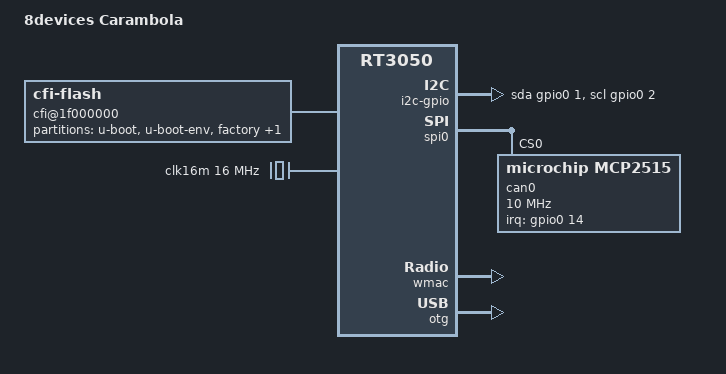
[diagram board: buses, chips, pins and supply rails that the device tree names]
/dts-v1/;

#include "rt3050.dtsi"

/ {
	compatible = "CARAMBOLA", "ralink,rt3050-soc";
	model = "8devices Carambola";

	chosen {
		bootargs = "console=ttyS0,115200";
	};

	cfi@1f000000 {
		compatible = "cfi-flash";
		reg = <0x1f000000 0x800000>;
		bank-width = <2>;
		device-width = <2>;
		#address-cells = <1>;
		#size-cells = <1>;

		partition@0 {
			label = "u-boot";
			reg = <0x0 0x30000>;
			read-only;
		};

		partition@30000 {
			label = "u-boot-env";
			reg = <0x30000 0x10000>;
			read-only;
		};

		factory: partition@40000 {
			label = "factory";
			reg = <0x40000 0x10000>;
			read-only;
		};

		partition@50000 {
			label = "firmware";
			reg = <0x50000 0x7b0000>;
		};
	};

	i2c-gpio {
		compatible = "i2c-gpio";
		gpios = <&gpio0 1 0 &gpio0 2 0>;
		i2c-gpio,delay-us = <10>;
	};
	clocks {
		clk16m: clk16m{
			compatible = "fixed-clock";
			#clock-cells = <0>;
			clock-frequency = <16000000>;
		};
	};
};

&spi0 {
        status = "okay";
	can0: can@0 {
		compatible = "microchip,mcp2515";
		reg = <0>;
		clocks = <&clk16m>;
		interrupt-parent = <&gpio0>;
		interrupts = <14 0x2>;
		spi-max-frequency = <10000000>;
	};
};

&pinctrl {
	state_default: pinctrl0 {
		gpio {
			ralink,group = "i2c", "jtag", "rgmii", "mdio", "uartf";
			ralink,function = "gpio";
		};
	};
};

&ethernet {
	mtd-mac-address = <&factory 0x28>;
};

&esw {
	mediatek,portmap = <0x3f>;
};

&wmac {
	ralink,mtd-eeprom = <&factory 0>;
};

&otg {
	status = "okay";
};
